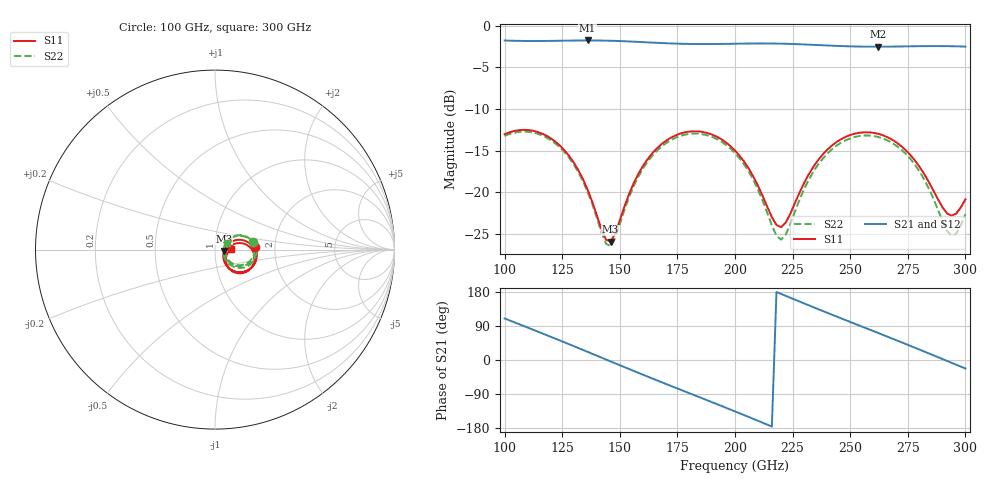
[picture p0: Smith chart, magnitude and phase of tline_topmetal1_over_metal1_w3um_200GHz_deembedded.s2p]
! Created with skrf 2.0.1 (http://scikit-rf.org).
# GHz S DB R 50.0
!freq dBS11 angS11 dBS21 angS21 dBS12 angS12 dBS22 angS22
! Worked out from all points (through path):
!   101 points, 100 GHz to 300 GHz, reference 50 ohm
!   highest |S21| = -1.77 dB at 136 GHz (marker M1); lowest = -2.5 dB at 262 GHz (marker M2)
!   group delay of S21, straight-line fit = 6.83 ps
!   lowest |S11| = -25.9 dB at 146 GHz (marker M3), VSWR 1.11, Z = 55.2 - j0.846 ohm
!   |S11| at or under -10 dB: start of sweep to end of sweep
!   |S22| runs from -26.5 to -12.7 dB; largest |S21 - S12| = 9e-14
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100  -13.03 4.0  -1.77 109.6  -1.77 109.6  -13.24 10.9
108  -12.51 -11.5  -1.83 90.4  -1.83 90.4  -12.72 -4.0
116  -12.93 -27.0  -1.83 71.1  -1.83 71.1  -13.14 -18.9
126  -14.97 -44.8  -1.79 46.6  -1.79 46.6  -15.19 -36.2
134  -18.42 -54.1  -1.77 26.6  -1.77 26.6  -18.67 -45.3
136  -19.67 -54.4  -1.77 21.6  -1.77 21.6  -19.93 -45.6
144  -25.69 -26.5  -1.79 1.4  -1.79 1.4  -26.18 -17.4
146  -25.93 -8.7  -1.80 -3.7  -1.80 -3.7  -26.48 1.2
158  -17.82 24.4  -1.94 -33.7  -1.94 -33.7  -18.15 36.1
168  -14.25 11.0  -2.08 -58.3  -2.08 -58.3  -14.54 23.0
176  -12.98 -3.2  -2.16 -77.6  -2.16 -77.6  -13.26 9.2
184  -12.69 -17.9  -2.20 -96.8  -2.20 -96.8  -12.97 -5.4
200  -14.99 -45.3  -2.16 -135.7  -2.16 -135.7  -15.30 -32.8
210  -19.23 -52.8  -2.13 -160.5  -2.13 -160.5  -19.70 -41.4
220  -24.20 -15.9  -2.15 174.3  -2.15 174.3  -25.69 -1.9
234  -16.95 14.9  -2.29 139.4  -2.29 139.4  -17.54 33.8
248  -13.35 -4.4  -2.46 105.3  -2.46 105.3  -13.76 13.9
262  -12.97 -28.4  -2.52 71.6  -2.52 71.6  -13.35 -10.8
268  -13.65 -38.3  -2.50 57.1  -2.50 57.1  -14.04 -21.1
282  -17.76 -53.3  -2.45 22.7  -2.45 22.7  -18.41 -38.7
294  -22.83 -23.1  -2.46 -7.4  -2.46 -7.4  -25.25 -5.2
300  -20.86 1.6  -2.50 -22.4  -2.50 -22.4  -22.64 28.3
